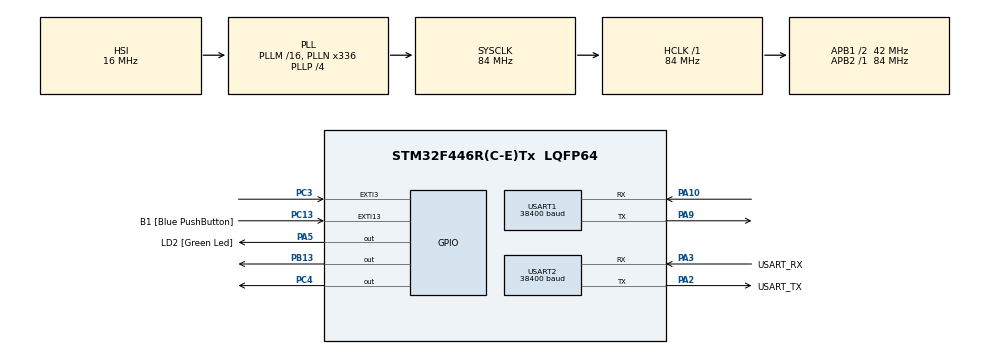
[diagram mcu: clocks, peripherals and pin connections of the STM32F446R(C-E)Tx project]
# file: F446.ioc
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Mcu.Family=STM32F4
Mcu.Name=STM32F446R(C-E)Tx
Mcu.Package=LQFP64
NVIC.EXTI3_IRQn=true\:0\:0\:false\:false\:true\:true
NVIC.PriorityGroup=NVIC_PRIORITYGROUP_0
NVIC.USART1_IRQn=true\:0\:0\:false\:false\:true\:true
NVIC.USART2_IRQn=true\:0\:0\:false\:false\:true\:true
PA10.Mode=Asynchronous
PA10.Signal=USART1_RX
PA13.GPIO_Label=TMS
PA13.Mode=Serial_Wire
PA13.Signal=SYS_JTMS-SWDIO
PA14.GPIO_Label=TCK
PA14.Mode=Serial_Wire
PA14.Signal=SYS_JTCK-SWCLK
PA2.GPIO_Label=USART_TX
PA2.Mode=Asynchronous
PA2.Signal=USART2_TX
PA3.GPIO_Label=USART_RX
PA3.Mode=Asynchronous
PA3.Signal=USART2_RX
PA5.GPIO_Label=LD2 [Green Led]
PA5.Signal=GPIO_Output
PA9.Mode=Asynchronous
PA9.Signal=USART1_TX
PB13.Signal=GPIO_Output
PB3.GPIO_Label=SWO
PB3.Signal=SYS_JTDO-SWO
PC13.GPIO_Label=B1 [Blue PushButton]
PC13.GPIO_ModeDefaultEXTI=GPIO_MODE_IT_FALLING
PC13.Signal=GPXTI13
PC14-OSC32_IN.Mode=LSE-External-Oscillator
PC14-OSC32_IN.Signal=RCC_OSC32_IN
PC15-OSC32_OUT.Mode=LSE-External-Oscillator
PC15-OSC32_OUT.Signal=RCC_OSC32_OUT
PC3.GPIO_PuPd=GPIO_PULLDOWN
PC3.Signal=GPXTI3
PC4.Signal=GPIO_Output
PH0-OSC_IN.Mode=HSE-External-Oscillator
PH0-OSC_IN.Signal=RCC_OSC_IN
PH1-OSC_OUT.Mode=HSE-External-Oscillator
PH1-OSC_OUT.Signal=RCC_OSC_OUT
ProjectManager.HeapSize=0x200
ProjectManager.StackSize=0x400
ProjectManager.TargetToolchain=SW4STM32
RCC.48MHZClocksFreq_Value=84000000
RCC.AHBFreq_Value=84000000
RCC.APB1CLKDivider=RCC_HCLK_DIV2
RCC.APB1Freq_Value=42000000
RCC.APB1TimFreq_Value=84000000
RCC.APB2Freq_Value=84000000
RCC.APB2TimFreq_Value=84000000
RCC.CortexFreq_Value=84000000
RCC.FLatency-AdvancedSettings=FLASH_LATENCY_2
RCC.HCLKFreq_Value=84000000
RCC.HSE_VALUE=8000000
RCC.HSI_VALUE=16000000
RCC.PLLN=336
RCC.PLLP=RCC_PLLP_DIV4
RCC.SYSCLKFreq_VALUE=84000000
RCC.SYSCLKSource=RCC_SYSCLKSOURCE_PLLCLK
RCC.USBFreq_Value=168000000
RCC.VCOOutputFreq_Value=336000000
USART1.BaudRate=38400
USART1.VirtualMode=VM_ASYNC
USART2.BaudRate=38400
USART2.VirtualMode=VM_ASYNC
board=NUCLEO-F446RE

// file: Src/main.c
/* USER CODE BEGIN Header */
/**
  ******************************************************************************
  * @file           : main.c
  * @brief          : Main program body
  ******************************************************************************
  ** This notice applies to any and all portions of this file
  * that are not between comment pairs USER CODE BEGIN and
  * USER CODE END. Other portions of this file, whether
  * inserted by the user or by software development tools
  * are owned by their respective copyright owners.
  *
  * COPYRIGHT(c) 2020 STMicroelectronics
  *
  * Redistribution and use in source and binary forms, with or without modification,
  * are permitted provided that the following conditions are met:
  *   1. Redistributions of source code must retain the above copyright notice,
  *      this list of conditions and the following disclaimer.
  *   2. Redistributions in binary form must reproduce the above copyright notice,
  *      this list of conditions and the following disclaimer in the documentation
  *      and/or other materials provided with the distribution.
  *   3. Neither the name of STMicroelectronics nor the names of its contributors
  *      may be used to endorse or promote products derived from this software
  *      without specific prior written permission.
  *
  * THIS SOFTWARE IS PROVIDED BY THE COPYRIGHT HOLDERS AND CONTRIBUTORS "AS IS"
  * AND ANY EXPRESS OR IMPLIED WARRANTIES, INCLUDING, BUT NOT LIMITED TO, THE
  * IMPLIED WARRANTIES OF MERCHANTABILITY AND FITNESS FOR A PARTICULAR PURPOSE ARE
  * DISCLAIMED. IN NO EVENT SHALL THE COPYRIGHT HOLDER OR CONTRIBUTORS BE LIABLE
  * FOR ANY DIRECT, INDIRECT, INCIDENTAL, SPECIAL, EXEMPLARY, OR CONSEQUENTIAL
  * DAMAGES (INCLUDING, BUT NOT LIMITED TO, PROCUREMENT OF SUBSTITUTE GOODS OR
  * SERVICES; LOSS OF USE, DATA, OR PROFITS; OR BUSINESS INTERRUPTION) HOWEVER
  * CAUSED AND ON ANY THEORY OF LIABILITY, WHETHER IN CONTRACT, STRICT LIABILITY,
  * OR TORT (INCLUDING NEGLIGENCE OR OTHERWISE) ARISING IN ANY WAY OUT OF THE USE
  * OF THIS SOFTWARE, EVEN IF ADVISED OF THE POSSIBILITY OF SUCH DAMAGE.
  *
  ******************************************************************************
  */
/* USER CODE END Header */

#include "main.h"

/* USER CODE BEGIN PD */
uint8_t Received[2];
/* USER CODE END PD */

UART_HandleTypeDef huart1;
UART_HandleTypeDef huart2;

void SystemClock_Config(void);
static void MX_GPIO_Init(void);
static void MX_USART2_UART_Init(void);
static void MX_USART1_UART_Init(void);

/* USER CODE BEGIN PFP */
void HAL_UART_RxCpltCallback(UART_HandleTypeDef *huart) {

 uint8_t Data[2]; // Tablica przechowujaca wysylana wiadomosc.

 sprintf(Data, "%s", Received);
 HAL_UART_Transmit_IT(&huart2, Data, 2); // Rozpoczecie nadawania danych z wykorzystaniem przerwan
 HAL_UART_Receive_IT(&huart1, Received, 2); // Ponowne w³¹czenie nas³uchiwania

}
/* USER CODE END PFP */

int main(void)
{

  /* MCU Configuration--------------------------------------------------------*/

  /* Reset of all peripherals, Initializes the Flash interface and the Systick. */
  HAL_Init();

  /* Configure the system clock */
  SystemClock_Config();

  /* Initialize all configured peripherals */
  MX_GPIO_Init();
  MX_USART2_UART_Init();
  MX_USART1_UART_Init();
  /* USER CODE BEGIN 2 */
  SystemClock_Config();
  uint8_t configuration[] = "AT+SETPANID ABCD";
  uint8_t wiadomosc[14] = "P2P 228F info";

  HAL_UART_Receive_IT(&huart1, Received, 2);
  HAL_UART_Transmit(&huart2, configuration, sizeof(configuration), 100);
  HAL_UART_Transmit(&huart2, configuration, sizeof(configuration), 100);

  /* USER CODE END 2 */

  /* Infinite loop */
  while (1)
  {

    /* USER CODE BEGIN 3 */
	 if(Received[0] == 49)
	{
	  	HAL_GPIO_WritePin(GPIOA, GPIO_PIN_5, GPIO_PIN_SET);
	}
	else
	{
	  	HAL_GPIO_WritePin(GPIOA, GPIO_PIN_5, GPIO_PIN_RESET);
	}
  }
  /* USER CODE END 3 */
}

void SystemClock_Config(void)
{
  RCC_OscInitTypeDef RCC_OscInitStruct = {0};
  RCC_ClkInitTypeDef RCC_ClkInitStruct = {0};

  /**Configure the main internal regulator output voltage
  */
  __HAL_RCC_PWR_CLK_ENABLE();
  __HAL_PWR_VOLTAGESCALING_CONFIG(PWR_REGULATOR_VOLTAGE_SCALE3);
  /**Initializes the CPU, AHB and APB busses clocks
  */
  RCC_OscInitStruct.OscillatorType = RCC_OSCILLATORTYPE_HSI;
  RCC_OscInitStruct.HSIState = RCC_HSI_ON;
  RCC_OscInitStruct.HSICalibrationValue = RCC_HSICALIBRATION_DEFAULT;
  RCC_OscInitStruct.PLL.PLLState = RCC_PLL_ON;
  RCC_OscInitStruct.PLL.PLLSource = RCC_PLLSOURCE_HSI;
  RCC_OscInitStruct.PLL.PLLM = 16;
  RCC_OscInitStruct.PLL.PLLN = 336;
  RCC_OscInitStruct.PLL.PLLP = RCC_PLLP_DIV4;
  RCC_OscInitStruct.PLL.PLLQ = 2;
  RCC_OscInitStruct.PLL.PLLR = 2;
  if (HAL_RCC_OscConfig(&RCC_OscInitStruct) != HAL_OK)
  {
    Error_Handler();
  }
  /**Initializes the CPU, AHB and APB busses clocks
  */
  RCC_ClkInitStruct.ClockType = RCC_CLOCKTYPE_HCLK|RCC_CLOCKTYPE_SYSCLK
                              |RCC_CLOCKTYPE_PCLK1|RCC_CLOCKTYPE_PCLK2;
  RCC_ClkInitStruct.SYSCLKSource = RCC_SYSCLKSOURCE_PLLCLK;
  RCC_ClkInitStruct.AHBCLKDivider = RCC_SYSCLK_DIV1;
  RCC_ClkInitStruct.APB1CLKDivider = RCC_HCLK_DIV2;
  RCC_ClkInitStruct.APB2CLKDivider = RCC_HCLK_DIV1;

  if (HAL_RCC_ClockConfig(&RCC_ClkInitStruct, FLASH_LATENCY_2) != HAL_OK)
  {
    Error_Handler();
  }
}

static void MX_USART1_UART_Init(void)
{

  huart1.Instance = USART1;
  huart1.Init.BaudRate = 38400;
  huart1.Init.WordLength = UART_WORDLENGTH_8B;
  huart1.Init.StopBits = UART_STOPBITS_1;
  huart1.Init.Parity = UART_PARITY_NONE;
  huart1.Init.Mode = UART_MODE_TX_RX;
  huart1.Init.HwFlowCtl = UART_HWCONTROL_NONE;
  huart1.Init.OverSampling = UART_OVERSAMPLING_16;
  if (HAL_UART_Init(&huart1) != HAL_OK)
  {
    Error_Handler();
  }

}

static void MX_USART2_UART_Init(void)
{

  huart2.Instance = USART2;
  huart2.Init.BaudRate = 38400;
  huart2.Init.WordLength = UART_WORDLENGTH_8B;
  huart2.Init.StopBits = UART_STOPBITS_1;
  huart2.Init.Parity = UART_PARITY_NONE;
  huart2.Init.Mode = UART_MODE_TX_RX;
  huart2.Init.HwFlowCtl = UART_HWCONTROL_NONE;
  huart2.Init.OverSampling = UART_OVERSAMPLING_16;
  if (HAL_UART_Init(&huart2) != HAL_OK)
  {
    Error_Handler();
  }

}

static void MX_GPIO_Init(void)
{
  GPIO_InitTypeDef GPIO_InitStruct = {0};

  /* GPIO Ports Clock Enable */
  __HAL_RCC_GPIOC_CLK_ENABLE();
  __HAL_RCC_GPIOH_CLK_ENABLE();
  __HAL_RCC_GPIOA_CLK_ENABLE();
  __HAL_RCC_GPIOB_CLK_ENABLE();

  /*Configure GPIO pin Output Level */
  HAL_GPIO_WritePin(LD2_GPIO_Port, LD2_Pin, GPIO_PIN_RESET);

  /*Configure GPIO pin Output Level */
  HAL_GPIO_WritePin(GPIOC, GPIO_PIN_4, GPIO_PIN_RESET);

  /*Configure GPIO pin Output Level */
  HAL_GPIO_WritePin(GPIOB, GPIO_PIN_13, GPIO_PIN_RESET);

  /*Configure GPIO pin : B1_Pin */
  GPIO_InitStruct.Pin = B1_Pin;
  GPIO_InitStruct.Mode = GPIO_MODE_IT_FALLING;
  GPIO_InitStruct.Pull = GPIO_NOPULL;
  HAL_GPIO_Init(B1_GPIO_Port, &GPIO_InitStruct);

  /*Configure GPIO pin : PC3 */
  GPIO_InitStruct.Pin = GPIO_PIN_3;
  GPIO_InitStruct.Mode = GPIO_MODE_IT_RISING;
  GPIO_InitStruct.Pull = GPIO_PULLDOWN;
  HAL_GPIO_Init(GPIOC, &GPIO_InitStruct);

  /*Configure GPIO pin : LD2_Pin */
  GPIO_InitStruct.Pin = LD2_Pin;
  GPIO_InitStruct.Mode = GPIO_MODE_OUTPUT_PP;
  GPIO_InitStruct.Pull = GPIO_NOPULL;
  GPIO_InitStruct.Speed = GPIO_SPEED_FREQ_LOW;
  HAL_GPIO_Init(LD2_GPIO_Port, &GPIO_InitStruct);

  /*Configure GPIO pin : PC4 */
  GPIO_InitStruct.Pin = GPIO_PIN_4;
  GPIO_InitStruct.Mode = GPIO_MODE_OUTPUT_PP;
  GPIO_InitStruct.Pull = GPIO_NOPULL;
  GPIO_InitStruct.Speed = GPIO_SPEED_FREQ_LOW;
  HAL_GPIO_Init(GPIOC, &GPIO_InitStruct);

  /*Configure GPIO pin : PB13 */
  GPIO_InitStruct.Pin = GPIO_PIN_13;
  GPIO_InitStruct.Mode = GPIO_MODE_OUTPUT_PP;
  GPIO_InitStruct.Pull = GPIO_NOPULL;
  GPIO_InitStruct.Speed = GPIO_SPEED_FREQ_LOW;
  HAL_GPIO_Init(GPIOB, &GPIO_InitStruct);

  /* EXTI interrupt init*/
  HAL_NVIC_SetPriority(EXTI3_IRQn, 0, 0);
  HAL_NVIC_EnableIRQ(EXTI3_IRQn);

}

void Error_Handler(void)
{
}

/************************ (C) COPYRIGHT STMicroelectronics *****END OF FILE****/
